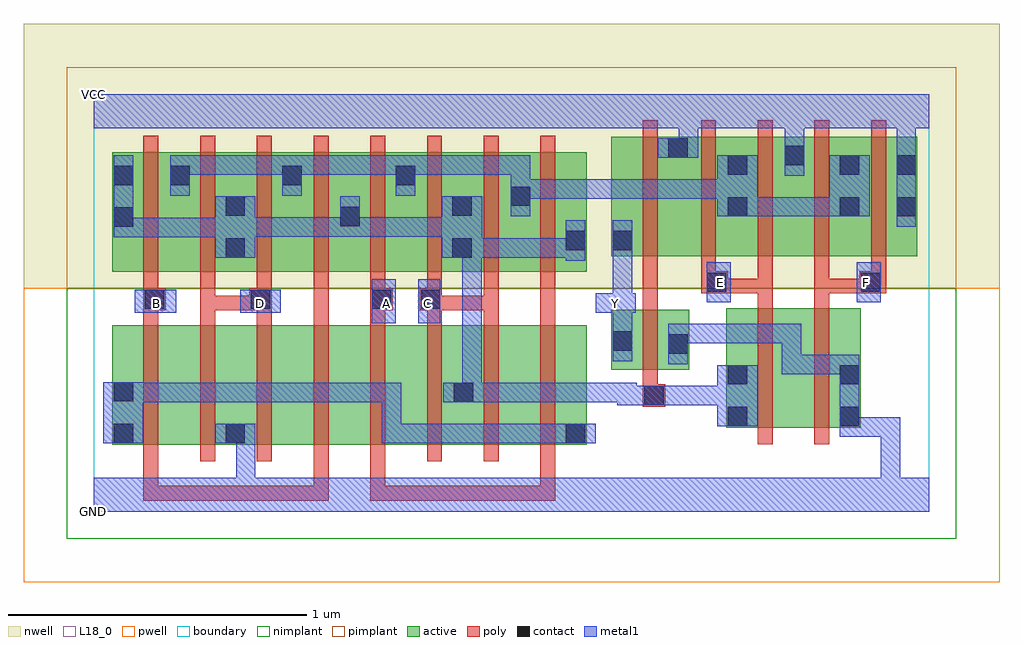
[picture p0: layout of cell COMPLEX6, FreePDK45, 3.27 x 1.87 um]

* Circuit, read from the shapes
.subckt COMPLEX6 A B C D E F GND VCC Y
M1 n1 B n2 VSUBS nfet w=0.4u l=0.05u
M2 GND D n1 VSUBS nfet w=0.4u l=0.05u
M3 n3 D GND VSUBS nfet w=0.4u l=0.05u
M4 n4 B n3 VSUBS nfet w=0.4u l=0.05u
M5 n5 A n4 VSUBS nfet w=0.4u l=0.05u
M6 n6 C n5 VSUBS nfet w=0.4u l=0.05u
M7 n7 C n6 VSUBS nfet w=0.4u l=0.05u
M8 n2 A n7 VSUBS nfet w=0.4u l=0.05u
M9 GND n6 Y VSUBS nfet w=0.2u l=0.05u
M10 n8 E n6 VSUBS nfet w=0.4u l=0.05u
M11 GND F n8 VSUBS nfet w=0.4u l=0.05u
M12 n9 B n6 n10 pfet w=0.4u l=0.05u m=2
M13 n6 D n9 n10 pfet w=0.4u l=0.05u m=2
M14 n9 A n6 n10 pfet w=0.4u l=0.05u m=2
M15 n6 C n9 n10 pfet w=0.4u l=0.05u m=2
M16 VCC n6 Y n10 pfet w=0.4u l=0.05u
M17 n9 E VCC n10 pfet w=0.4u l=0.05u m=2
M18 n9 F VCC n10 pfet w=0.4u l=0.05u m=2
.ends

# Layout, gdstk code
import gdstk
lib = gdstk.Library(unit=1e-6, precision=1e-09)
def R(c, l, rs):  # rectangles x0, y0, x1, y1
    for r in rs: c.add(gdstk.rectangle(r[:2], r[2:], *l))
def A(c, l, x, y, w, h, nx, ny, dx, dy):  # array of equal rectangles
    R(c, l, [(x+i*dx, y+j*dy, x+i*dx+w, y+j*dy+h) for i in range(nx) for j in range(ny)])
active = (1, 0)
pwell = (2, 0)
nwell = (3, 0)
nimplant = (4, 0)
pimplant = (5, 0)
poly = (9, 0)
contact = (10, 0)
metal1 = (11, 0)
L18_0 = (18, 0)
boundary = (235, 0)

complex6 = lib.new_cell('COMPLEX6')
A(complex6, active, 0.252, 0.805, 0.26, 0.4, 3, 1, 0.57, 0)
R(complex6, active, [(0.062,0.225,0.137,0.625), (0.062,0.225,0.287,0.625), (0.287,0.225,0.512,0.625), (0.437,0.225,0.667,0.625), (0.437,0.225,0.512,0.617), (0.667,0.225,0.857,0.625), (0.857,0.225,1.047,0.625), (1.047,0.225,1.277,0.625), (1.202,0.225,1.427,0.625), (1.427,0.225,1.652,0.625), (1.577,0.225,1.652,0.435), (2.12,0.282,2.195,0.682), (2.12,0.282,2.345,0.682), (2.345,0.282,2.57,0.682), (2.495,0.282,2.57,0.682), (1.202,0.295,1.277,0.617), (1.735,0.477,1.995,0.677), (1.735,0.495,1.81,0.677), (1.92,0.495,1.995,0.677), (0.062,0.805,0.327,1.205), (0.062,0.805,0.137,1.2), (0.437,0.805,0.702,1.205), (0.437,0.805,0.512,1.07), (0.627,0.805,0.897,1.205), (0.822,0.805,0.897,1.07), (1.007,0.805,1.272,1.205), (1.197,0.805,1.272,1.07), (1.197,0.805,1.467,1.205), (1.577,0.805,1.652,1.07), (0.252,0.847,0.327,1.2), (1.735,0.857,1.995,1.257), (1.735,0.857,1.81,1.07), (1.92,0.857,2.195,1.257), (2.12,0.857,2.385,1.257), (2.31,0.857,2.57,1.257), (2.495,0.857,2.76,1.257), (2.685,0.857,2.76,1.205), (0.627,0.907,0.702,1.2), (1.007,0.907,1.082,1.2), (1.392,0.907,1.467,1.2), (1.92,0.907,1.995,1.257), (2.12,0.907,2.195,1.2), (2.31,0.907,2.385,1.257), (2.495,0.907,2.57,1.2)])
R(complex6, pwell, [(-0.235,-0.235,3.035,0.75)])
R(complex6, nwell, [(-0.235,0.75,3.035,1.635)])
R(complex6, nimplant, [(-0.09,-0.09,2.89,0.75)])
R(complex6, pimplant, [(-0.09,0.75,2.89,1.49)])
A(complex6, poly, 0.167, 0.17, 0.05, 0.51, 8, 2, 0.19, 0.58)
A(complex6, poly, 0.167, 0.63, 0.05, 0.095, 7, 1, 0.19, 0)
A(complex6, poly, 0.357, 0.675, 0.05, 0.05, 3, 1, 0.38, 0)
A(complex6, poly, 0.167, 0.7, 0.05, 0.1, 3, 1, 0.38, 0)
A(complex6, poly, 2.035, 0.802, 0.05, 0.51, 4, 1, 0.19, 0)
R(complex6, poly, [(0.167,0.037,0.217,0.087), (0.167,0.037,0.217,0.087), (0.167,0.037,0.217,0.087), (0.167,0.037,0.217,0.22), (0.167,0.037,0.44,0.087), (0.39,0.037,0.44,0.087), (0.39,0.037,0.44,0.087), (0.39,0.037,0.44,0.087), (0.39,0.037,0.655,0.087), (0.605,0.037,0.655,0.087), (0.605,0.037,0.655,0.087), (0.605,0.037,0.655,0.087), (0.605,0.037,0.787,0.087), (0.737,0.037,0.787,0.087), (0.737,0.037,0.787,0.22), (0.927,0.037,0.977,0.087), (0.927,0.037,0.977,0.087), (0.927,0.037,0.977,0.087), (0.927,0.037,0.977,0.22), (0.927,0.037,1.135,0.087), (1.085,0.037,1.135,0.087), (1.085,0.037,1.135,0.087), (1.085,0.037,1.135,0.087), (1.085,0.037,1.3,0.087), (1.25,0.037,1.3,0.087), (1.25,0.037,1.3,0.087), (1.25,0.037,1.3,0.087), (1.25,0.037,1.547,0.087), (1.497,0.037,1.547,0.087), (1.497,0.037,1.547,0.22), (2.225,0.227,2.275,0.737), (2.415,0.227,2.465,0.737), (1.84,0.352,1.915,0.427), (1.84,0.377,1.89,0.472), (1.84,0.422,1.89,0.732), (1.497,0.63,1.547,0.755), (0.167,0.675,0.242,0.75), (0.357,0.675,0.407,0.725), (0.357,0.675,0.407,0.725), (0.357,0.675,0.407,0.8), (0.357,0.675,0.572,0.725), (0.522,0.675,0.597,0.75), (0.737,0.675,0.787,0.8), (0.927,0.675,1.002,0.75), (1.092,0.675,1.167,0.75), (1.117,0.675,1.167,0.725), (1.117,0.675,1.357,0.725), (1.307,0.675,1.357,0.725), (1.307,0.675,1.357,0.8), (1.84,0.682,1.89,0.777), (2.225,0.687,2.275,0.782), (2.415,0.687,2.465,0.782), (1.117,0.7,1.167,0.8), (1.497,0.705,1.547,0.8), (1.497,0.705,1.547,0.755), (1.84,0.727,1.89,0.777), (1.84,0.727,1.89,0.852), (2.035,0.732,2.125,0.807), (2.075,0.732,2.275,0.782), (2.225,0.732,2.275,0.782), (2.225,0.732,2.275,0.782), (2.225,0.732,2.275,0.782), (2.225,0.732,2.275,0.852), (2.415,0.732,2.465,0.782), (2.415,0.732,2.617,0.782), (2.415,0.732,2.465,0.852), (2.567,0.732,2.617,0.782), (2.567,0.732,2.617,0.782), (2.567,0.732,2.655,0.807), (2.035,0.757,2.085,0.852), (2.605,0.757,2.655,0.852), (1.84,0.802,1.89,1.312)])
R(complex6, contact, [(0.067,0.23,0.132,0.295), (0.442,0.23,0.507,0.295), (1.582,0.23,1.647,0.295), (2.125,0.287,2.19,0.352), (2.5,0.287,2.565,0.352), (1.845,0.357,1.91,0.422), (1.207,0.367,1.272,0.432), (0.067,0.37,0.132,0.435), (2.125,0.427,2.19,0.492), (2.5,0.427,2.565,0.492), (1.925,0.53,1.99,0.595), (1.74,0.54,1.805,0.605), (0.172,0.68,0.237,0.745), (0.527,0.68,0.592,0.745), (0.932,0.68,0.997,0.745), (1.097,0.68,1.162,0.745), (2.055,0.737,2.12,0.802), (2.572,0.737,2.637,0.802), (0.442,0.852,0.507,0.917), (1.202,0.852,1.267,0.917), (1.582,0.877,1.647,0.942), (1.74,0.877,1.805,0.942), (0.067,0.955,0.132,1.02), (0.827,0.957,0.892,1.022), (2.125,0.99,2.19,1.055), (2.5,0.99,2.565,1.055), (2.69,0.99,2.755,1.055), (0.442,0.992,0.507,1.057), (1.202,0.992,1.267,1.057), (1.397,1.025,1.462,1.09), (0.067,1.095,0.132,1.16), (0.257,1.095,0.322,1.16), (0.632,1.095,0.697,1.16), (1.012,1.095,1.077,1.16), (2.125,1.13,2.19,1.195), (2.5,1.13,2.565,1.195), (2.69,1.13,2.755,1.195), (2.315,1.162,2.38,1.227), (1.925,1.187,1.99,1.252)])
R(complex6, metal1, [(0,0,2.8,0.115), (0.477,0.05,0.542,0.115), (0.477,0.05,0.542,0.115), (0.477,0.05,0.542,0.295), (2.637,0.05,2.702,0.317), (0.032,0.23,0.167,0.435), (0.407,0.23,0.542,0.295), (0.965,0.23,1.03,0.295), (0.965,0.23,1.03,0.295), (0.965,0.23,1.03,0.295), (0.965,0.23,1.03,0.295), (0.965,0.23,1.03,0.295), (0.965,0.23,1.325,0.295), (0.965,0.23,1.03,0.432), (1.26,0.23,1.325,0.295), (1.26,0.23,1.325,0.295), (1.26,0.23,1.325,0.295), (1.26,0.23,1.462,0.295), (1.397,0.23,1.462,0.295), (1.397,0.23,1.6,0.295), (1.535,0.23,1.6,0.295), (1.535,0.23,1.612,0.295), (1.547,0.23,1.682,0.295), (2.5,0.252,2.565,0.527), (2.5,0.252,2.702,0.317), (2.637,0.252,2.702,0.317), (2.637,0.252,2.702,0.317), (2.637,0.252,2.702,0.317), (2.637,0.252,2.702,0.317), (2.637,0.252,2.702,0.317), (2.637,0.252,2.702,0.317), (2.637,0.252,2.702,0.317), (2.637,0.252,2.702,0.317), (2.637,0.252,2.702,0.317), (2.637,0.252,2.702,0.317), (2.637,0.252,2.702,0.317), (2.09,0.287,2.225,0.492), (1.755,0.357,1.875,0.422), (1.755,0.357,1.82,0.432), (1.81,0.357,1.945,0.422), (1.88,0.357,1.957,0.422), (1.892,0.357,1.957,0.422), (1.892,0.357,2.095,0.422), (2.03,0.357,2.095,0.422), (2.03,0.357,2.155,0.422), (0.102,0.367,0.167,0.432), (0.102,0.367,0.167,0.432), (0.102,0.367,0.305,0.432), (0.24,0.367,0.305,0.432), (0.24,0.367,0.305,0.432), (0.24,0.367,0.305,0.432), (0.24,0.367,0.56,0.432), (0.495,0.367,0.56,0.432), (0.495,0.367,0.56,0.432), (0.495,0.367,0.56,0.432), (0.495,0.367,0.755,0.432), (0.69,0.367,0.755,0.432), (0.69,0.367,0.755,0.432), (0.69,0.367,0.755,0.432), (0.69,0.367,0.892,0.432), (0.827,0.367,0.892,0.432), (0.827,0.367,0.892,0.432), (0.827,0.367,0.892,0.432), (0.827,0.367,1.03,0.432), (0.965,0.367,1.03,0.432), (1.172,0.367,1.307,0.432), (1.235,0.367,1.3,0.917), (1.242,0.367,1.307,0.432), (1.242,0.367,1.307,0.432), (1.242,0.367,1.462,0.432), (1.397,0.367,1.462,0.432), (1.397,0.367,1.6,0.432), (1.535,0.367,1.6,0.432), (1.535,0.367,1.6,0.432), (1.535,0.367,1.6,0.432), (1.535,0.367,1.6,0.432), (1.535,0.367,1.6,0.432), (1.535,0.367,1.82,0.432), (1.755,0.367,1.82,0.432), (1.755,0.367,1.82,0.432), (2.305,0.462,2.565,0.527), (2.305,0.462,2.37,0.63), (1.925,0.495,1.99,0.63), (1.74,0.505,1.805,0.64), (1.925,0.565,2.095,0.63), (2.03,0.565,2.095,0.63), (2.03,0.565,2.232,0.63), (2.167,0.565,2.232,0.63), (2.167,0.565,2.232,0.63), (2.167,0.565,2.232,0.63), (2.167,0.565,2.37,0.63), (2.305,0.565,2.37,0.63), (2.305,0.565,2.37,0.63), (1.74,0.575,1.805,0.732), (0.932,0.632,1.012,0.78), (1.087,0.632,1.162,0.78), (0.137,0.667,0.277,0.745), (0.492,0.667,0.627,0.745), (1.682,0.667,1.817,0.732), (1.74,0.667,1.805,0.907), (2.055,0.702,2.135,0.837), (2.557,0.702,2.637,0.837), (1.582,0.842,1.647,0.977), (1.74,0.842,1.805,0.977), (0.407,0.852,0.542,1.057), (1.167,0.852,1.302,1.057), (1.235,0.852,1.3,0.917), (1.235,0.852,1.3,0.917), (1.237,0.852,1.302,0.917), (1.237,0.852,1.302,0.917), (1.237,0.852,1.462,0.917), (1.397,0.852,1.462,0.917), (1.397,0.852,1.6,0.917), (1.535,0.852,1.6,0.917), (1.535,0.852,1.647,0.917), (0.067,0.92,0.132,1.195), (0.067,0.92,0.132,0.985), (0.067,0.92,0.132,0.985), (0.067,0.92,0.305,0.985), (0.24,0.92,0.305,0.985), (0.24,0.92,0.305,0.985), (0.24,0.92,0.305,0.985), (0.24,0.92,0.472,0.985), (0.477,0.922,0.542,0.987), (0.477,0.922,0.542,0.987), (0.477,0.922,0.755,0.987), (0.69,0.922,0.755,0.987), (0.69,0.922,0.755,0.987), (0.69,0.922,0.755,0.987), (0.69,0.922,0.892,0.987), (0.827,0.922,0.892,0.987), (0.827,0.922,0.892,0.987), (0.827,0.922,1.03,0.987), (0.827,0.922,0.892,1.057), (0.965,0.922,1.03,0.987), (0.965,0.922,1.03,0.987), (0.965,0.922,1.03,0.987), (0.965,0.922,1.232,0.987), (2.69,0.955,2.755,1.23), (1.397,0.99,1.462,1.125), (2.09,0.99,2.225,1.195), (2.16,0.99,2.232,1.055), (2.167,0.99,2.232,1.055), (2.167,0.99,2.392,1.055), (2.327,0.99,2.392,1.055), (2.327,0.99,2.392,1.055), (2.327,0.99,2.392,1.055), (2.327,0.99,2.53,1.055), (2.465,0.99,2.6,1.195), (1.397,1.05,1.6,1.115), (1.535,1.05,1.6,1.115), (1.535,1.05,1.737,1.115), (1.672,1.05,1.737,1.115), (1.672,1.05,1.737,1.115), (1.672,1.05,1.737,1.115), (1.672,1.05,1.957,1.115), (1.892,1.05,1.957,1.115), (1.892,1.05,1.957,1.115), (1.892,1.05,1.957,1.115), (1.892,1.05,1.957,1.115), (1.892,1.05,1.957,1.115), (1.892,1.05,2.095,1.115), (2.03,1.05,2.095,1.115), (2.03,1.05,2.155,1.115), (0.257,1.06,0.322,1.195), (0.632,1.06,0.697,1.195), (1.012,1.06,1.077,1.195), (1.397,1.06,1.462,1.125), (1.397,1.06,1.462,1.195), (2.315,1.127,2.38,1.262), (0.257,1.13,0.332,1.195), (0.267,1.13,0.332,1.195), (0.267,1.13,0.47,1.195), (0.405,1.13,0.47,1.195), (0.405,1.13,0.47,1.195), (0.405,1.13,0.47,1.195), (0.405,1.13,0.697,1.195), (0.632,1.13,0.697,1.195), (0.632,1.13,0.697,1.195), (0.632,1.13,0.892,1.195), (0.827,1.13,0.892,1.195), (0.827,1.13,0.892,1.195), (0.827,1.13,0.892,1.195), (0.827,1.13,1.077,1.195), (1.012,1.13,1.077,1.195), (1.012,1.13,1.077,1.195), (1.012,1.13,1.215,1.195), (1.15,1.13,1.215,1.195), (1.15,1.13,1.462,1.195), (2.69,1.165,2.755,1.35), (1.89,1.187,2.025,1.252), (1.96,1.187,2.025,1.35), (2.315,1.197,2.38,1.35), (0,1.285,2.8,1.4)])
R(complex6, L18_0, [(0,0,2.8,0.115), (0.477,0.05,0.542,0.115), (0.477,0.05,0.542,0.115), (0.477,0.05,0.542,0.295), (2.637,0.05,2.702,0.317), (0.407,0.23,0.542,0.295), (2.5,0.252,2.702,0.317), (2.5,0.252,2.565,0.527), (2.637,0.252,2.702,0.317), (2.637,0.252,2.702,0.317), (2.637,0.252,2.702,0.317), (2.637,0.252,2.702,0.317), (2.637,0.252,2.702,0.317), (2.637,0.252,2.702,0.317), (2.637,0.252,2.702,0.317), (2.637,0.252,2.702,0.317), (2.637,0.252,2.702,0.317), (2.637,0.252,2.702,0.317), (2.637,0.252,2.702,0.317), (2.305,0.462,2.37,0.63), (2.305,0.462,2.565,0.527), (1.925,0.495,1.99,0.63), (1.74,0.505,1.805,0.64), (1.925,0.565,2.095,0.63), (2.03,0.565,2.095,0.63), (2.03,0.565,2.232,0.63), (2.167,0.565,2.232,0.63), (2.167,0.565,2.232,0.63), (2.167,0.565,2.232,0.63), (2.167,0.565,2.37,0.63), (2.305,0.565,2.37,0.63), (2.305,0.565,2.37,0.63), (1.74,0.575,1.805,0.732), (0.932,0.632,1.012,0.78), (1.087,0.632,1.162,0.78), (0.137,0.667,0.277,0.745), (0.177,0.667,0.242,0.732), (0.492,0.667,0.627,0.745), (0.527,0.667,0.592,0.732), (0.947,0.667,1.012,0.732), (1.087,0.667,1.152,0.732), (1.682,0.667,1.817,0.732), (1.717,0.667,1.782,0.732), (1.74,0.667,1.805,0.907), (2.055,0.702,2.135,0.837), (2.557,0.702,2.637,0.837), (2.067,0.737,2.132,0.802), (2.557,0.737,2.622,0.802), (1.74,0.842,1.805,0.977), (2.69,0.955,2.755,1.23), (2.315,1.127,2.38,1.262), (2.69,1.165,2.755,1.35), (1.89,1.187,2.025,1.252), (1.96,1.187,2.025,1.35), (2.315,1.197,2.38,1.35), (0,1.285,2.8,1.4)])
R(complex6, boundary, [(0,0,2.8,1.4)])
complex6.add(gdstk.Label('A', (0.98,0.7), layer=11, texttype=0))
complex6.add(gdstk.Label('B', (0.21,0.7), layer=11, texttype=0))
complex6.add(gdstk.Label('C', (1.12,0.7), layer=11, texttype=0))
complex6.add(gdstk.Label('D', (0.56,0.7), layer=11, texttype=0))
complex6.add(gdstk.Label('E', (2.1,0.77), layer=11, texttype=0))
complex6.add(gdstk.Label('F', (2.59,0.77), layer=11, texttype=0))
complex6.add(gdstk.Label('Y', (1.75,0.7), layer=11, texttype=0))
complex6.add(gdstk.Label('VCC', (0,1.4), layer=11, texttype=0))
complex6.add(gdstk.Label('GND', (0,0), layer=11, texttype=0))

lib.write_gds('COMPLEX6.gds')
